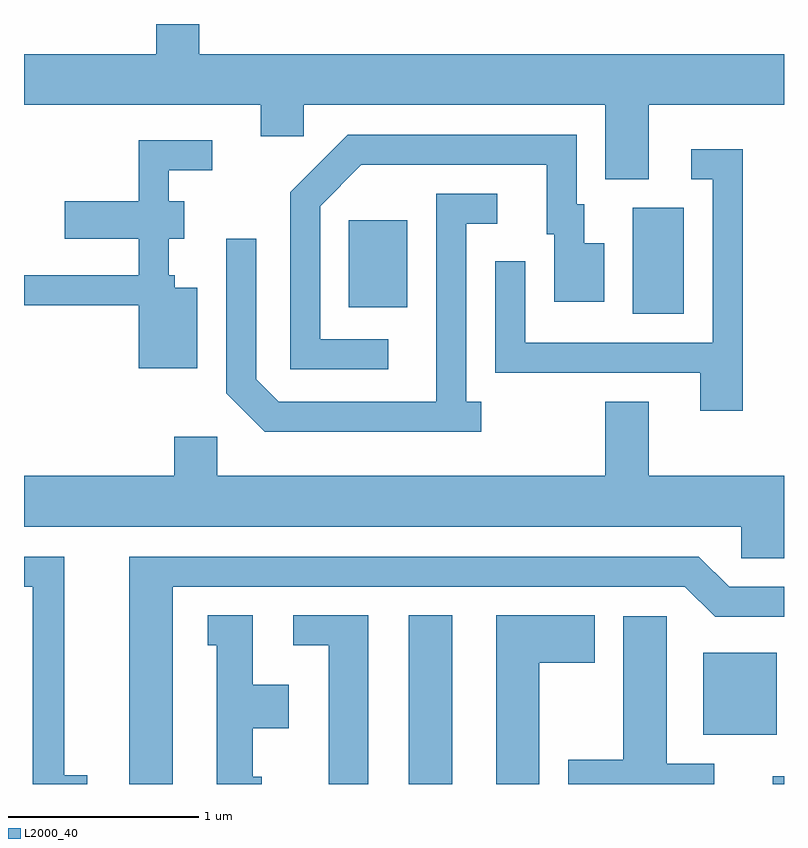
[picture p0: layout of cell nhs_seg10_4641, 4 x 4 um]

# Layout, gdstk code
import gdstk
lib = gdstk.Library(unit=1e-6, precision=1e-09)
def R(c, l, rs):  # rectangles x0, y0, x1, y1
    for r in rs: c.add(gdstk.rectangle(r[:2], r[2:], *l))
def P(c, l, *ps):  # polygons
    for p in ps: c.add(gdstk.Polygon(p, *l))
L2000_40 = (2000, 40)

nhs_seg10_4641 = lib.new_cell('nhs_seg10_4641')
R(nhs_seg10_4641, L2000_40, [(323.636,2152.522,323.864,2153.409), (325.551,2152.522,325.611,2152.563), (325.186,2152.781,325.574,2153.214), (324.816,2154.996,325.084,2155.554), (323.321,2155.031,323.629,2155.489)])
P(nhs_seg10_4641, L2000_40, [(324.899,2156.096),(325.611,2156.096),(325.611,2156.364),(322.534,2156.364),(322.534,2156.522),(322.306,2156.522),(322.306,2156.364),(321.611,2156.364),(321.611,2156.096),(322.856,2156.096),(322.856,2155.931),(323.084,2155.931),(323.084,2156.096),(324.671,2156.096),(324.671,2155.706),(324.899,2155.706)],
  [(322.078,2156.522),(321.611,2156.522),(321.611,2156.521),(322.077,2156.521)],
  [(323.528,2154.864),(323.169,2154.864),(323.169,2155.564),(323.387,2155.781),(324.361,2155.781),(324.361,2155.416),(324.401,2155.416),(324.401,2155.061),(324.664,2155.061),(324.664,2155.369),(324.559,2155.369),(324.559,2155.574),(324.519,2155.574),(324.519,2155.939),(323.314,2155.939),(323.011,2155.637),(323.011,2154.706),(323.528,2154.706)],
  [(322.524,2155.134),(322.404,2155.134),(322.404,2155.199),(322.374,2155.199),(322.374,2155.391),(322.454,2155.391),(322.454,2155.589),(322.374,2155.589),(322.374,2155.751),(322.603,2155.751),(322.603,2155.909),(322.216,2155.909),(322.216,2155.589),(321.826,2155.589),(321.826,2155.391),(322.216,2155.391),(322.216,2155.199),(321.611,2155.199),(321.611,2155.041),(322.216,2155.041),(322.216,2154.711),(322.524,2154.711)],
  [(325.394,2155.864),(325.123,2155.864),(325.123,2155.706),(325.236,2155.706),(325.236,2154.844),(324.249,2154.844),(324.249,2155.273),(324.091,2155.273),(324.091,2154.686),(325.171,2154.686),(325.171,2154.486),(325.394,2154.486)],
  [(324.018,2154.534),(323.939,2154.534),(323.939,2155.471),(324.103,2155.471),(324.103,2155.629),(323.781,2155.629),(323.781,2154.534),(322.952,2154.534),(322.834,2154.652),(322.834,2155.393),(322.676,2155.393),(322.676,2154.579),(322.879,2154.376),(324.018,2154.376)],
  [(325.611,2154.144),(324.899,2154.144),(324.899,2154.534),(324.671,2154.534),(324.671,2154.144),(322.629,2154.144),(322.629,2154.349),(322.401,2154.349),(322.401,2154.144),(321.611,2154.144),(321.611,2153.876),(325.386,2153.876),(325.386,2153.711),(325.611,2153.711)],
  [(322.394,2153.561),(325.089,2153.561),(325.249,2153.401),(325.611,2153.401),(325.611,2153.559),(325.322,2153.559),(325.162,2153.719),(322.166,2153.719),(322.166,2152.522),(322.394,2152.522)],
  [(321.943,2152.569),(321.824,2152.569),(321.824,2153.719),(321.611,2153.719),(321.611,2153.561),(321.656,2153.561),(321.656,2152.522),(321.943,2152.522)],
  [(322.863,2152.559),(322.814,2152.559),(322.814,2152.816),(323.004,2152.816),(323.004,2153.044),(322.814,2153.044),(322.814,2153.409),(322.578,2153.409),(322.578,2153.251),(322.626,2153.251),(322.626,2152.522),(322.863,2152.522)],
  [(324.324,2153.161),(324.614,2153.161),(324.614,2153.409),(324.096,2153.409),(324.096,2152.522),(324.324,2152.522)],
  [(323.424,2153.409),(323.028,2153.409),(323.028,2153.251),(323.216,2153.251),(323.216,2152.522),(323.424,2152.522)],
  [(325.244,2152.629),(324.994,2152.629),(324.994,2153.404),(324.766,2153.404),(324.766,2152.649),(324.476,2152.649),(324.476,2152.522),(325.244,2152.522)])

lib.write_gds('nhs_seg10_4641.gds')
